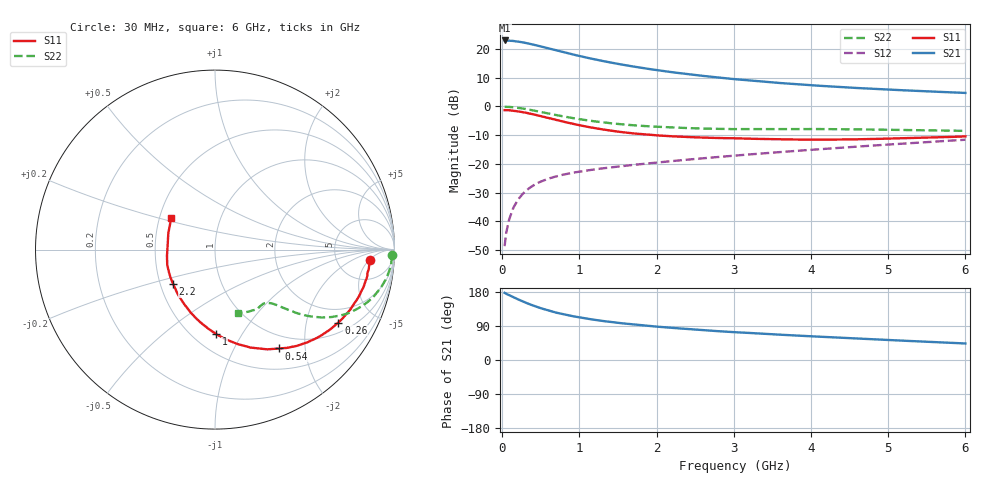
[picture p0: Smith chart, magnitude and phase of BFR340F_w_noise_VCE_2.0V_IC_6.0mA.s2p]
! Infineon Technologies  Discrete & RF Semiconductors
! BFR340F
! VCE =  2.0 V,  IC =  6.0 mA
! Common Emitter S-Parameters:  Nov 2015
# GHz  S  MA  R  50
!  f  S11  S21  S12  S22
! GHz  MAG  ANG  MAG  ANG  MAG  ANG  MAG  ANG
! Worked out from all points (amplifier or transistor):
!   206 points, 30 MHz to 6 GHz, reference 50 ohm
!   highest |S21| = 23.0 dB at 30 MHz (marker M1)
!   |S21| within 3 dB of that: start of sweep to 633.3 MHz
!   unconditionally stable (mu >= 1): 2.638 GHz to 5.756 GHz
!   at 200 MHz: K = 0.14, MSG = 27.6 dB, |S12| = -32.7 dB
!   at 1.56 GHz: K = 0.81, MSG = 17.6 dB, |S12| = -20.7 dB
!   at 6 GHz: K = 0.99, MSG = 8.1 dB, |S12| = -11.6 dB
!   lowest NFmin = 1.17 dB at 450 MHz
!   S11 on the Smith chart (normalised r, x): 30 MHz: 11, -5; 260 MHz: 1.38, -3.09; 540 MHz: 0.79, -1.54; 1 GHz: 0.64, -0.78; 2.2 GHz: 0.58, -0.25; 6 GHz: 0.58, +0.22
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0.03  0.8638 -3.7  14.09 177.2  0.0037 87.2  0.9871 -1.9
0.05  0.8633 -6.1  14.01 174.5  0.0062 86.7  0.9859 -3.3
0.07  0.8594 -8.6  14.07 172.7  0.0086 85.0  0.9844 -4.6
0.14  0.8457 -17.0  13.82 166.1  0.0167 81.0  0.9688 -9.3
0.2  0.8241 -24.0  13.49 160.4  0.0233 77.8  0.9485 -12.9
0.26  0.7984 -30.6  13.08 155.0  0.0296 74.4  0.9232 -16.3
0.34  0.7608 -39.0  12.45 148.2  0.037 70.6  0.8845 -20.4
0.4  0.7301 -44.9  11.94 143.6  0.042 68.1  0.854 -23.0
0.54  0.6562 -57.1  10.72 134.2  0.0518 63.4  0.7822 -28.1
0.68  0.5899 -68.3  9.608 126.0  0.0597 60.3  0.7166 -31.8
0.8  0.54 -76.7  8.744 120.2  0.0655 58.4  0.6675 -34.2
1  0.4715 -89.1  7.552 112.3  0.0734 56.6  0.6005 -36.9
1.04  0.4597 -91.2  7.344 111.0  0.0748 56.4  0.5898 -37.3
1.2  0.4192 -100.0  6.588 105.8  0.0804 55.9  0.5494 -38.7
1.42  0.3774 -110.7  5.757 99.9  0.0875 55.8  0.5078 -40.1
1.68  0.3417 -121.9  5 94.1  0.0957 56.4  0.4726 -41.5
2.02  0.3128 -134.4  4.258 87.8  0.1063 57.4  0.4426 -43.0
2.2  0.3023 -140.6  3.944 84.8  0.1121 58.0  0.4311 -43.9
3.1  0.2769 -164.2  2.917 72.5  0.1426 60.4  0.4034 -49.2
4.1  0.2644 176.6  2.295 61.6  0.1799 61.9  0.4045 -54.4
5.1  0.2772 158.8  1.938 51.8  0.2215 62.0  0.3917 -62.1
6  0.3011 143.9  1.72 43.6  0.2635 61.0  0.376 -70.3
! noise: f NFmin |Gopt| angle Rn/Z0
0.45  1.17  0.43  2  0.31
0.9  1.18  0.43  11  0.34
1.9  1.43  0.3  17  0.31
2.4  1.55  0.26  27  0.31
